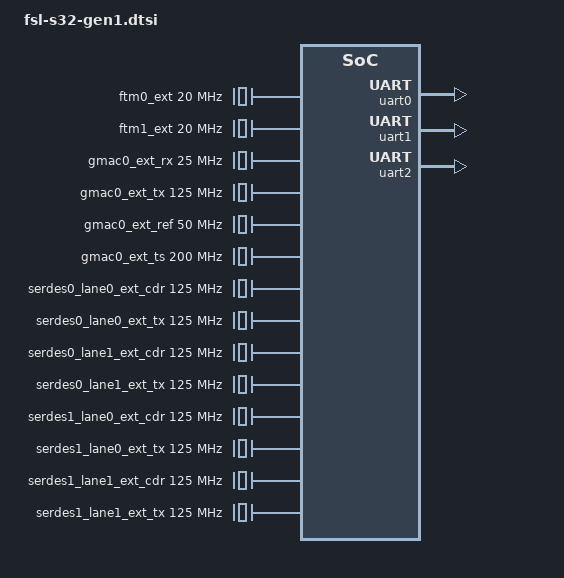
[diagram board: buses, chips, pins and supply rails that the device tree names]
// SPDX-License-Identifier: (GPL-2.0+ OR MIT)
/*
 * Device Tree Include file for Freescale S32Gen1 family SoC.
 *
 * Copyright 2019-2021 NXP
 */

#include <dt-bindings/clock/s32gen1-clock-freq.h>
#include <dt-bindings/clock/s32gen1-clock.h>
#include <dt-bindings/clock/s32gen1-scmi-clock.h>

/ {
	compatible = "fsl,s32gen1", "arm,vexpress";
	interrupt-parent = <&gic>;
	#address-cells = <2>;
	#size-cells = <2>;

	aliases {
		i2c0 = &i2c0;
		i2c1 = &i2c1;
		i2c2 = &i2c2;
		i2c3 = &i2c3;
		i2c4 = &i2c4;
		spi0 = &dspi0;
		spi1 = &dspi1;
		spi2 = &dspi2;
		spi3 = &dspi3;
		spi4 = &dspi4;
		spi5 = &dspi5;
		spi6 = &qspi;
		serdes0 = &serdes0;
		pcie0 = &pcie0;
		mmc0 = &usdhc0;
		clks = &clks;
	};

	reserved-memory {
		#address-cells = <2>;
		#size-cells = <2>;
		ranges;

		scmi_shbuf: shm@d0000000 {
			compatible = "arm,scmi-shmem";
			reg = <0x0 0xd0000000 0x0 0x001000>;
			no-map;
		};

#ifdef CONFIG_HSE_SECBOOT
		hse_reserved: hse_reserved@0x84000000 {
			no-map;
			reg = <0 0x84000000 0 0x40000>; /* 256K */
		};
#endif
	};

	fxosc: fxosc@40050000 {
		compatible = "fixed-clock", "fsl,s32gen1-fxosc";
		reg = <0x0 0x40050000 0x0 0x3000>;
		clock-frequency = <S32GEN1_FXOSC_FREQ>;
		#clock-cells = <1>;
	};

	firc: firc@0 {
		compatible = "fixed-clock";
		clock-frequency = <51000000>;
		#clock-cells = <1>;
	};

	sirc: sirc@0 {
		compatible = "fixed-clock";
		clock-frequency = <32000>;
		#clock-cells = <1>;
	};

	ftm0_ext: ftm0_ext@0 {
		compatible = "fixed-clock";
		clock-frequency = <20000000>;
		#clock-cells = <1>;
	};

	ftm1_ext: ftm1_ext@0 {
		compatible = "fixed-clock";
		clock-frequency = <20000000>;
		#clock-cells = <1>;
	};

	gmac0_ext_rx: gmac0_ext_rx@0 {
		compatible = "fixed-clock";
		clock-frequency = <25000000>;
		#clock-cells = <1>;
	};

	gmac0_ext_tx: gmac0_ext_tx@0 {
		compatible = "fixed-clock";
		clock-frequency = <125000000>;
		#clock-cells = <1>;
	};

	gmac0_ext_ref: gmac0_ext_ref@0 {
		compatible = "fixed-clock";
		clock-frequency = <50000000>;
		#clock-cells = <1>;
	};

	gmac0_ext_ts: gmac0_ext_ts@0 {
		compatible = "fixed-clock";
		clock-frequency = <200000000>;
		#clock-cells = <1>;
	};

	serdes0_lane0_ext_cdr: serdes0_lane0_ext_cdr@0 {
		compatible = "fixed-clock";
		clock-frequency = <125000000>;
		#clock-cells = <1>;
	};

	serdes0_lane0_ext_tx: serdes0_lane0_ext_tx@0 {
		compatible = "fixed-clock";
		clock-frequency = <125000000>;
		#clock-cells = <1>;
	};

	serdes0_lane1_ext_cdr: serdes0_lane1_ext_cdr@0 {
		compatible = "fixed-clock";
		clock-frequency = <125000000>;
		#clock-cells = <1>;
	};

	serdes0_lane1_ext_tx: serdes0_lane1_ext_tx@0 {
		compatible = "fixed-clock";
		clock-frequency = <125000000>;
		#clock-cells = <1>;
	};

	serdes1_lane0_ext_cdr: serdes1_lane0_ext_cdr@0 {
		compatible = "fixed-clock";
		clock-frequency = <125000000>;
		#clock-cells = <1>;
	};

	serdes1_lane0_ext_tx: serdes1_lane0_ext_tx@0 {
		compatible = "fixed-clock";
		clock-frequency = <125000000>;
		#clock-cells = <1>;
	};

	serdes1_lane1_ext_cdr: serdes1_lane1_ext_cdr@0 {
		compatible = "fixed-clock";
		clock-frequency = <125000000>;
		#clock-cells = <1>;
	};

	serdes1_lane1_ext_tx: serdes1_lane1_ext_tx@0 {
		compatible = "fixed-clock";
		clock-frequency = <125000000>;
		#clock-cells = <1>;
	};

	firmware {
		scmi {
			compatible = "arm,scmi-smc";
			arm,smc-id = <0xc20000fe>;
			shmem = <&scmi_shbuf>;
			#address-cells = <1>;
			#size-cells = <0>;

			status = "disabled";

			protocol@14 {
				#address-cells = <2>;
				#size-cells = <2>;

				reg = <0x14>;
				#clock-cells = <1>;
			};
		};
	};

	clks: clks {
		compatible = "fsl,s32-gen1-clocking";
		#address-cells = <2>;
		#size-cells = <2>;
		#clock-cells = <1>;
		status = "okay";

		assigned-clocks =
			<&clks S32GEN1_SCMI_CLK_SERDES_REF>,
			<&clks S32GEN1_CLK_FXOSC>,
			<&clks S32GEN1_CLK_FIRC>,
			<&clks S32GEN1_CLK_SIRC>,
			<&clks S32GEN1_CLK_GMAC0_EXT_RX>;

		assigned-clock-parents =
			<0>,
			<&fxosc 0>,
			<&firc 0>,
			<&sirc 0>,
			<&gmac0_ext_rx 0>;

		assigned-clock-rates =
			<100000000>;

		armpll: armpll@4003800 {
			compatible = "fsl,s32gen1-armpll";
			reg = <0x0 0x40038000 0x0 0x3000>;

			assigned-clocks =
				<&clks S32GEN1_CLK_ARM_PLL_MUX>,
				<&clks S32GEN1_CLK_ARM_PLL_VCO>,
				<&clks S32GEN1_CLK_ARM_PLL_PHI0>;
			assigned-clock-parents =
				<&clks S32GEN1_CLK_FXOSC>;
			assigned-clock-rates =
				<0>,
				<S32GEN1_ARM_PLL_VCO_MAX_FREQ>,
				<S32GEN1_ARM_PLL_PHI0_MAX_FREQ>;
		};

		armdfs: armdfs@40054000 {
			compatible = "fsl,s32gen1-armdfs";
			reg = <0x0 0x40054000 0x0 0x3000>;

			assigned-clocks =
				<&clks S32GEN1_CLK_ARM_PLL_DFS1>,
				<&clks S32GEN1_CLK_ARM_PLL_DFS2>;
			assigned-clock-rates =
				<S32GEN1_CLK_ARM_PLL_DFS1_FREQ>,
				<800000000>;
		};

		periphpll: periphpll@4003C000 {
			compatible = "fsl,s32gen1-periphpll";
			reg = <0x0 0x4003C000 0x0 0x3000>;

			assigned-clocks =
				<&clks S32GEN1_CLK_PERIPH_PLL_MUX>,
				<&clks S32GEN1_CLK_PERIPH_PLL_VCO>,
				<&clks S32GEN1_CLK_PERIPH_PLL_PHI0>,
				<&clks S32GEN1_CLK_PERIPH_PLL_PHI1>,
				<&clks S32GEN1_CLK_PERIPH_PLL_PHI2>,
				<&clks S32GEN1_CLK_PERIPH_PLL_PHI3>,
				<&clks S32GEN1_CLK_PERIPH_PLL_PHI4>,
				<&clks S32GEN1_CLK_PERIPH_PLL_PHI5>,
				<&clks S32GEN1_CLK_PERIPH_PLL_PHI7>;
			assigned-clock-parents =
				<&clks S32GEN1_CLK_FXOSC>;
			assigned-clock-rates =
				<0>,
				<S32GEN1_PERIPH_PLL_VCO_FREQ>, <100000000>,
				<80000000>, <80000000>,
				<125000000>, <200000000>,
				<125000000>, <100000000>;
		};

		periphdfs: armdfs@40058000 {
			compatible = "fsl,s32gen1-periphdfs";
			reg = <0x0 0x40058000 0x0 0x3000>;

			assigned-clocks =
				<&clks S32GEN1_CLK_PERIPH_PLL_DFS1>,
				<&clks S32GEN1_CLK_PERIPH_PLL_DFS3>;
			assigned-clock-rates =
				<800000000>,
				<800000000>;
		};

		accelpll: accelpll@40040000 {
			compatible = "fsl,s32gen1-accelpll";
			reg = <0x0 0x40040000 0x0 0x3000>;
		};

		ddrpll: ddrpll@40044000 {
			compatible = "fsl,s32gen1-ddrpll";
			reg = <0x0 0x40044000 0x0 0x3000>;
		};

		mc_me: mc_me@40088000 {
			compatible = "fsl,s32gen1-mc_me";
			reg = <0x0 0x40088000 0x0 0x3000>;
		};

		rdc: rdc@440080000 {
			compatible = "fsl,s32gen1-rdc";
			reg = <0x0 0x40080000 0x0 0x3000>;
		};

		rgm: rgm@40078000 {
			compatible = "fsl,s32gen1-rgm";
			reg = <0x0 0x40078000 0x0 0x3000>;
		};

		mc_cgm0: mc_cgm0@40030000 {
			compatible = "fsl,s32gen1-mc_cgm0";
			reg = <0x0 0x40030000 0x0 0x3000>;

			assigned-clocks =
				<&clks S32GEN1_CLK_MC_CGM0_MUX0>,
				<&clks S32GEN1_CLK_MC_CGM0_MUX3>,
				<&clks S32GEN1_CLK_MC_CGM0_MUX4>,
				<&clks S32GEN1_CLK_MC_CGM0_MUX5>,
				<&clks S32GEN1_CLK_MC_CGM0_MUX7>,
				<&clks S32GEN1_CLK_MC_CGM0_MUX8>,
				<&clks S32GEN1_CLK_MC_CGM0_MUX9>,
				<&clks S32GEN1_CLK_MC_CGM0_MUX10>,
				<&clks S32GEN1_CLK_MC_CGM0_MUX11>,
				<&clks S32GEN1_CLK_MC_CGM0_MUX12>,
				<&clks S32GEN1_CLK_MC_CGM0_MUX14>,
				<&clks S32GEN1_CLK_MC_CGM0_MUX16>,
				<&clks S32GEN1_CLK_PER>,
				<&clks S32GEN1_CLK_XBAR_2X>,
				<&clks S32GEN1_CLK_FTM0_REF>,
				<&clks S32GEN1_CLK_FTM1_REF>,
				<&clks S32GEN1_CLK_CAN_PE>,
				<&clks S32GEN1_CLK_LIN_BAUD>,
				<&clks S32GEN1_CLK_SPI>,
				<&clks S32GEN1_CLK_QSPI_2X>,
				<&clks S32GEN1_CLK_SDHC>,
				<&clks S32GEN1_CLK_GMAC0_TS>;
			assigned-clock-parents =
				<&clks S32GEN1_CLK_ARM_PLL_DFS1>,
				<&clks S32GEN1_CLK_PERIPH_PLL_PHI1>,
				<&clks S32GEN1_CLK_PERIPH_PLL_PHI1>,
				<&clks S32GEN1_CLK_PERIPH_PLL_PHI1>,
				<&clks S32GEN1_CLK_PERIPH_PLL_PHI2>,
				<&clks S32GEN1_CLK_PERIPH_PLL_PHI3>,
				<&clks S32GEN1_CLK_PERIPH_PLL_PHI4>,
				<&clks S32GEN1_CLK_PERIPH_PLL_PHI5>,
				<&clks S32GEN1_CLK_GMAC0_EXT_RX>,
				<&clks S32GEN1_CLK_PERIPH_PLL_DFS1>,
				<&clks S32GEN1_CLK_PERIPH_PLL_DFS3>,
				<&clks S32GEN1_CLK_PERIPH_PLL_PHI7>;
			assigned-clock-rates =
				<0>,
				<0>,
				<0>,
				<0>,
				<0>,
				<0>,
				<0>,
				<0>,
				<0>,
				<0>,
				<0>,
				<0>,
				<80000000>,
				<S32GEN1_XBAR_2X_FREQ>,
				<40000000>,
				<40000000>,
				<80000000>,
				<125000000>,
				<100000000>,
				/* If S32G274A Rev < 2, CLK_QSPI_2X maximum
				 * value can be 266666666.
				 */
				<400000000>,
				<400000000>,
				<200000000>;
		};

		mc_cgm1: mc_cgm1@40034000 {
			compatible = "fsl,s32gen1-mc_cgm1";
			reg = <0x0 0x40034000 0x0 0x3000>;

			assigned-clocks =
				<&clks S32GEN1_CLK_MC_CGM1_MUX0>,
				<&clks S32GEN1_CLK_A53_CORE>;
			assigned-clock-parents =
				<&clks S32GEN1_CLK_ARM_PLL_PHI0>,
				<0>;
			assigned-clock-rates =
				<0>,
				<S32GEN1_A53_MAX_FREQ>;
		};

		mc_cgm5: mc_cgm5@40068000 {
			compatible = "fsl,s32gen1-mc_cgm5";
			reg = <0x0 0x40068000 0x0 0x3000>;
		};
	};

	uart0:serial@401C8000 {
		device_type = "serial";
		compatible = "fsl,s32-linflexuart";
		reg = <0x0 0x401C8000 0x0 0x3000>;
		interrupts = <0 82 1>;
		clock-frequency = <0>;	/* updated dynamically if 0 */
	};

	uart1:serial@401CC000 {
		device_type = "serial";
		compatible = "fsl,s32-linflexuart";
		reg = <0x0 0x401CC000 0x0 0x3000>;
		interrupts = <0 83 1>;
		clock-frequency = <0>;	/* updated dynamically if 0 */
	};

	uart2:serial@402BC000 {
		device_type = "serial";
		compatible = "fsl,s32-linflexuart";
		reg = <0x0 0x402BC000 0x0 0x3000>;
		interrupts = <0 84 1>;
		clock-frequency = <0>;	/* updated dynamically if 0 */
	};

	usdhc0: usdhc@402F0000{
		compatible = "fsl,s32gen1-usdhc";
		reg = <0x0 0x402F0000 0x0 0x1000>;
		interrupts = <0 36 4>;
		clocks = <&clks S32GEN1_SCMI_CLK_USDHC_MODULE>,
			<&clks S32GEN1_SCMI_CLK_USDHC_AHB>,
			<&clks S32GEN1_SCMI_CLK_USDHC_CORE>;
		clock-names = "ipg", "ahb", "per";
		clock-frequency = <0>;	/* updated dynamically if 0 */
		bus-width = <8>;
		no-1-8-v;
		status = "disabled";
	};

	gic: interrupt-controller@50800000 {
		compatible = "arm,gic-v3";
		#interrupt-cells = <3>;
		#address-cells = <2>;
		#size-cells = <2>;
		interrupt-controller;
		reg = <0 0x50800000 0 0x10000>, /* GIC Dist */
		      <0 0x50880000 0 0x200000>, /* GICR (RD_base + SGI_base) */
		      <0 0x50400000 0 0x2000>, /* GICC */
		      <0 0x50410000 0 0x2000>, /* GICH */
		      <0 0x50420000 0 0x2000>; /* GICV */
		interrupts = <1 9 0xf04>;
	};

	serdes0: serdes@40480000 {
		compatible = "fsl,s32gen1-serdes";
		reg = <0x00 0x40400000 0x0 0x80000   /* dbi registers */
		       0x00 0x40480000 0x0 0x04000>; /* serdes registers */
		reg-names = "dbi", "ss";
		#address-cells = <3>;
		#size-cells = <2>;
		device_type = "pci-generic";
		device_id = <0>;
		num-lanes = <2>; /* supports max 2 lanes */
		clocks = <&clks S32GEN1_SCMI_CLK_SERDES_REF>;
	};

	pcie0: pcie@40400000 {
		compatible = "fsl,s32gen1-pcie";
		reg =
			<0x00 0x40400000 0x0 0x80000   /* dbi registers */
			/* configuration space, 4KB each for cfg0 and cfg1
			 * at the end of the outbound memory map
			 */
			0x5f 0xffffe000 0x0 0x00002000>;
		reg-names = "dbi", "config";
		#address-cells = <3>;
		#size-cells = <2>;
		device_type = "pci";
		serdes-handle = <&serdes0>;
		device_id = <0>;
		num-lanes = <2>; /* supports max 2 lanes */
		link-speed = <3>; /* supports Gen3 speed */

		bus-range = <0x0 0xff>;
		ranges =
			/* downstream I/O, 64KB and aligned naturally just before
			 * the config space to minimize fragmentation
			 */
			<0x81000000 0x0 0x00000000 0x5f 0xfffe0000 0x0 0x00010000
			/* non-prefetchable memory, with best case size
			 * and alignment
			 */
			 0x82000000 0x0 0x00000000 0x58 0x00000000 0x7 0xfffe0000>;
		status = "disabled";
	};

	dspi0: dspi0@401D4000 {
		#address-cells = <1>;
		#size-cells = <0>;
		compatible = "fsl,vf610-dspi";
		reg = <0x0 0x401d4000 0x0 0x1000>;
		num-cs = <8>;
		status = "disabled";
	};

	dspi1: dspi1@401D8000 {
		#address-cells = <1>;
		#size-cells = <0>;
		compatible = "fsl,vf610-dspi";
		reg = <0x0 0x401d8000 0x0 0x1000>;
		num-cs = <5>;
		status = "disabled";
	};

	dspi2: dspi2@401DC000 {
		#address-cells = <1>;
		#size-cells = <0>;
		compatible = "fsl,vf610-dspi";
		reg = <0x0 0x401dc000 0x0 0x1000>;
		num-cs = <5>;
		status = "disabled";
	};

	dspi3: dspi3@402C8000 {
		#address-cells = <1>;
		#size-cells = <0>;
		compatible = "fsl,vf610-dspi";
		reg = <0x0 0x402c8000 0x0 0x1000>;
		num-cs = <5>;
		status = "disabled";
	};

	dspi4: dspi4@402CC000 {
		#address-cells = <1>;
		#size-cells = <0>;
		compatible = "fsl,vf610-dspi";
		reg = <0x0 0x402cc000 0x0 0x1000>;
		num-cs = <5>;
		status = "disabled";
	};

	dspi5: dspi5@402D0000 {
		#address-cells = <1>;
		#size-cells = <0>;
		compatible = "fsl,vf610-dspi";
		reg = <0x0 0x402d0000 0x0 0x1000>;
		num-cs = <5>;
		status = "disabled";
	};

	qspi: quadspi@40134000 {
		compatible = "fsl,vf610-qspi";
		#address-cells = <1>;
		#size-cells = <0>;
		reg = <0x0 0x00000000 0x0 0x20000000>,
			<0x0 0x40134000 0x0 0x1000>;
		reg-names = "QuadSPI-memory", "QuadSPI";
		num-cs = <2>;
		status = "disabled";
	};

	gmac0: ethernet@4033c000 {
		compatible = "fsl,s32cc-dwmac";
		reg = <0x0 0x4033c000 0x0 0x2000>, /* gmac IP */
		      <0x0 0x4007C004 0x0 0x4>;    /* S32 CTRL_STS reg */
		tx-fifo-depth = <20480>;
		rx-fifo-depth = <20480>;
		status = "disabled";
		gmac0_mdio: mdio0 {
			compatible = "snps,dwmac-mdio";
		};
	};

	i2c0: i2c@401E4000 {
		compatible = "fsl,vf610-i2c";
		#address-cells = <1>;
		#size-cells = <0>;
		reg = <0x0 0x401E4000 0x0 0x10000>;
		clocks = <&clks S32GEN1_SCMI_CLK_I2C_REG>;
		status = "disabled";
	};

	i2c1: i2c@401E8000 {
		compatible = "fsl,vf610-i2c";
		#address-cells = <1>;
		#size-cells = <0>;
		reg = <0x0 0x401E8000 0x0 0x10000>;
		clocks = <&clks S32GEN1_SCMI_CLK_I2C_REG>;
		status = "disabled";
	};

	i2c2: i2c@401EC000 {
		compatible = "fsl,vf610-i2c";
		#address-cells = <1>;
		#size-cells = <0>;
		reg = <0x0 0x401EC000 0x0 0x10000>;
		clocks = <&clks S32GEN1_SCMI_CLK_I2C_REG>;
		status = "disabled";
	};

	i2c3: i2c@402D8000 {
		compatible = "fsl,vf610-i2c";
		#address-cells = <1>;
		#size-cells = <0>;
		reg = <0x0 0x402D8000 0x0 0x10000>;
		clocks = <&clks S32GEN1_SCMI_CLK_I2C_REG>;
		status = "disabled";
	};

	i2c4: i2c@402DC000 {
		compatible = "fsl,vf610-i2c";
		#address-cells = <1>;
		#size-cells = <0>;
		reg = <0x0 0x402DC000 0x0 0x10000>;
		clocks = <&clks S32GEN1_SCMI_CLK_I2C_REG>;
		status = "disabled";
	};
};

